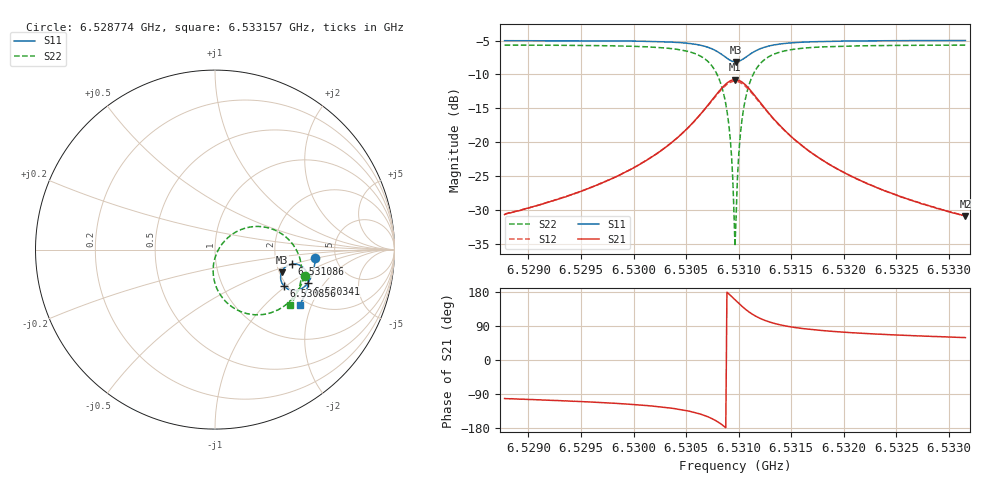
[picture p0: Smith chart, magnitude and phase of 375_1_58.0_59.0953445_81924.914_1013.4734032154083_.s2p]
#  HZ  S  RI  R  50.00
! Rohde & Schwarz Vector Network Analyzer
! Rohde-Schwarz,ZNB20-2Port,1311601062101988,3.16
! Created: UTC 3/21/2024, 1:07:05 AM
! freq[Hz]  re:S11  im:S11  re:S21  im:S21  re:S12  im:S12  re:S22  im:S22
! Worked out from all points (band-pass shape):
!   401 points, 6.528774 GHz to 6.533157 GHz, reference 50 ohm
!   highest |S21| = -10.75 dB at 6.530965 GHz (marker M1); lowest = -30.9 dB at 6.533157 GHz (marker M2)
!   |S21| within 3 dB of the highest: 6.530747 GHz to 6.531186 GHz (438.2 kHz wide, 0.00671 % of centre)
!   lowest |S11| = -8.1 dB at 6.530976 GHz (marker M3), VSWR 2.29, Z = 103 - j30.5 ohm
!   |S11| at or under -10 dB: nowhere
!   |S22| runs from -35.3 to -5.7 dB; largest |S21 - S12| = 0.011
!   S11 on the Smith chart (normalised r, x): 6.528774 GHz: 3.49, -0.47; 6.530341 GHz: 2.59, -1.39; 6.530856 GHz: 1.93, -0.97; 6.531086 GHz: 2.42, -0.48; 6.533157 GHz: 1.82, -1.65
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6.5287739e9  0.5594 -0.0457  -0.0059 -0.0287  -0.00661 -0.0287  0.4993 -0.1486
6.529508e9  0.5503 -0.1059  -0.0148 -0.0411  -0.0157 -0.0409  0.4703 -0.2156
6.5302422e9  0.5234 -0.1767  -0.0463 -0.0707  -0.0483 -0.0696  0.3937 -0.3082
6.5303408e9  0.5156 -0.1883  -0.0573 -0.0775  -0.0593 -0.0762  0.3706 -0.3244
6.5306914e9  0.4525 -0.2276  -0.1536 -0.0959  -0.1558 -0.0898  0.1873 -0.3585
6.53079e9  0.4136 -0.2231  -0.214 -0.0724  -0.2137 -0.0639  0.084 -0.311
6.5308558e9  0.3845 -0.2033  -0.2573 -0.0281  -0.2532 -0.019  0.0166 -0.2299
6.5309106e9  0.3678 -0.1721  -0.279 0.0322  -0.2713 0.0397  -0.0104 -0.1258
6.5309215e9  0.3663 -0.1646  -0.2802 0.0462  -0.2719 0.053  -0.0101 -0.1024
6.5309544e9  0.3667 -0.1411  -0.2754 0.0893  -0.2658 0.0939  0.00475 -0.0319
6.5309654e9  0.3684 -0.1331  -0.2709 0.1035  -0.2611 0.107  0.0143 -0.00943
6.5309763e9  0.371 -0.1255  -0.265 0.117  -0.2551 0.1198  0.0261 0.0121
6.5309873e9  0.3745 -0.1183  -0.2578 0.13  -0.2481 0.1318  0.04 0.032
6.5310092e9  0.3835 -0.1054  -0.24 0.153  -0.231 0.1533  0.0725 0.0672
6.5310201e9  0.3888 -0.0999  -0.23 0.1629  -0.2211 0.1623  0.0907 0.0818
6.531053e9  0.407 -0.0873  -0.1963 0.1853  -0.189 0.1832  0.1498 0.1134
6.5310859e9  0.4263 -0.081  -0.1618 0.197  -0.1561 0.1943  0.209 0.1275
6.5311626e9  0.4651 -0.0843  -0.0934 0.1952  -0.0905 0.1927  0.3241 0.1123
6.5312722e9  0.4979 -0.107  -0.0358 0.1653  -0.0345 0.1638  0.418 0.0482
6.5316995e9  0.5198 -0.1829  0.0142 0.0817  0.0151 0.0815  0.4832 -0.1293
6.5324336e9  0.4995 -0.2553  0.0167 0.0392  0.0174 0.039  0.4557 -0.2449
6.5331568e9  0.4715 -0.3083  0.0147 0.0245  0.0152 0.0243  0.4204 -0.307
